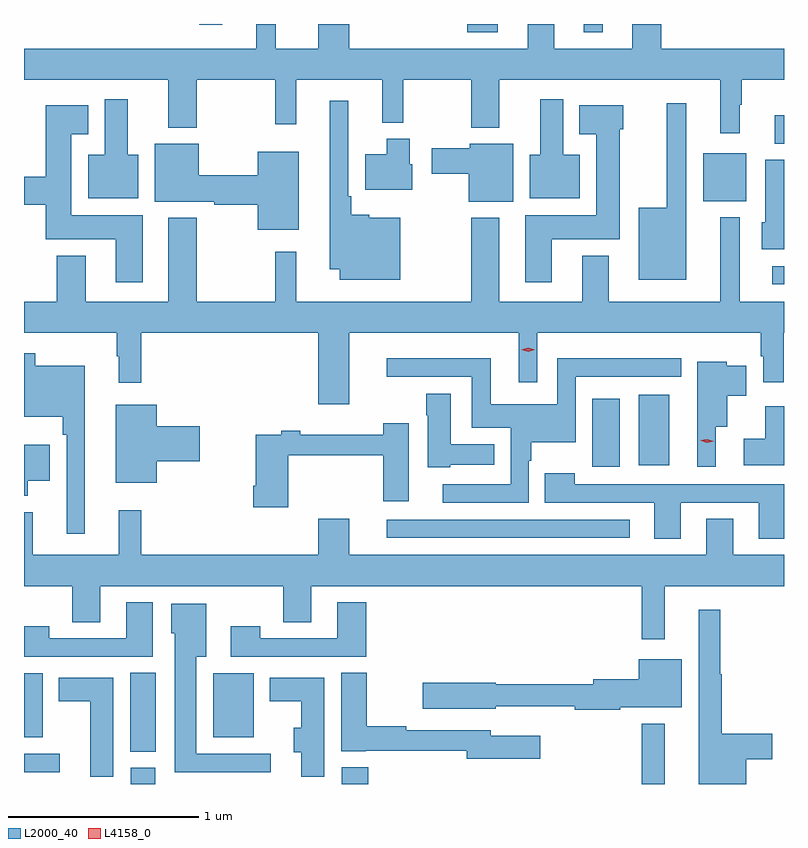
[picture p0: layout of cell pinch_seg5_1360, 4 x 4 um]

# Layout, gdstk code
import gdstk
lib = gdstk.Library(unit=1e-6, precision=1e-09)
def R(c, l, rs):  # rectangles x0, y0, x1, y1
    for r in rs: c.add(gdstk.rectangle(r[:2], r[2:], *l))
def P(c, l, *ps):  # polygons
    for p in ps: c.add(gdstk.Polygon(p, *l))
L2000_40 = (2000, 40)
L4158_0 = (4158, 0)

pinch_seg5_1360 = lib.new_cell('pinch_seg5_1360')
R(pinch_seg5_1360, L2000_40, [(199.985,908.998,200.113,909.084), (201.095,908.998,201.236,909.085), (199.423,909.059,199.612,909.156), (199.982,909.169,200.116,909.584), (199.423,909.245,199.522,909.58), (200.42,909.245,200.632,909.58), (201.333,910.293,202.612,910.389), (202.415,910.668,202.558,911.026), (202.658,910.676,202.819,911.047), (203.361,911.628,203.423,911.724), (202.997,912.065,203.224,912.319), (203.373,912.368,203.423,912.517), (201.755,912.954,201.916,912.998), (202.37,912.954,202.468,912.998), (200.346,912.993,200.467,912.998)])
P(pinch_seg5_1360, L2000_40, [(203.191,912.572),(203.201,912.572),(203.201,912.704),(203.423,912.704),(203.423,912.868),(202.778,912.868),(202.778,912.998),(202.625,912.998),(202.625,912.868),(202.213,912.868),(202.213,912.998),(202.073,912.998),(202.073,912.868),(201.136,912.868),(201.136,912.998),(200.972,912.998),(200.972,912.868),(200.749,912.868),(200.749,912.998),(200.645,912.998),(200.645,912.868),(199.423,912.868),(199.423,912.704),(200.183,912.704),(200.183,912.452),(200.331,912.452),(200.331,912.704),(200.745,912.704),(200.745,912.471),(200.855,912.471),(200.855,912.704),(201.308,912.704),(201.308,912.479),(201.418,912.479),(201.418,912.704),(201.778,912.704),(201.778,912.452),(201.925,912.452),(201.925,912.704),(203.087,912.704),(203.087,912.423),(203.191,912.423)],
  [(200.023,912.31),(199.969,912.31),(199.969,912.601),(199.847,912.601),(199.847,912.31),(199.76,912.31),(199.76,912.08),(200.023,912.08)],
  [(202.348,912.31),(202.261,912.31),(202.261,912.601),(202.139,912.601),(202.139,912.31),(202.085,912.31),(202.085,912.08),(202.348,912.08)],
  [(201.403,911.977),(201.24,911.977),(201.24,911.995),(201.146,911.995),(201.146,912.091),(201.129,912.091),(201.129,912.595),(201.032,912.595),(201.032,911.708),(201.086,911.708),(201.086,911.651),(201.403,911.651)],
  [(202.909,912.58),(202.805,912.58),(202.805,912.031),(202.658,912.031),(202.658,911.651),(202.909,911.651)],
  [(200.047,911.992),(199.672,911.992),(199.672,912.419),(199.762,912.419),(199.762,912.571),(199.538,912.571),(199.538,912.194),(199.423,912.194),(199.423,912.047),(199.538,912.047),(199.538,911.864),(199.907,911.864),(199.907,911.64),(200.047,911.64)],
  [(202.201,911.864),(202.558,911.864),(202.558,912.444),(202.576,912.444),(202.576,912.571),(202.346,912.571),(202.346,912.419),(202.436,912.419),(202.436,911.992),(202.061,911.992),(202.061,911.64),(202.201,911.64)],
  [(201.466,912.261),(201.454,912.261),(201.454,912.394),(201.332,912.394),(201.332,912.313),(201.219,912.313),(201.219,912.126),(201.466,912.126)],
  [(201.997,912.367),(201.768,912.367),(201.768,912.343),(201.57,912.343),(201.57,912.209),(201.764,912.209),(201.764,912.062),(201.997,912.062)],
  [(200.869,912.325),(200.654,912.325),(200.654,912.203),(200.344,912.203),(200.344,912.367),(200.111,912.367),(200.111,912.062),(200.424,912.062),(200.424,912.047),(200.654,912.047),(200.654,911.915),(200.869,911.915)],
  [(203.423,912.283),(203.324,912.283),(203.324,911.955),(203.306,911.955),(203.306,911.813),(203.423,911.813)],
  [(199.747,911.779),(199.595,911.779),(199.595,911.536),(199.423,911.536),(199.423,911.372),(199.911,911.372),(199.911,911.249),(199.922,911.249),(199.922,911.109),(200.039,911.109),(200.039,911.372),(200.972,911.372),(200.972,910.998),(201.136,910.998),(201.136,911.372),(202.028,911.372),(202.028,911.112),(202.125,911.112),(202.125,911.372),(203.301,911.372),(203.301,911.25),(203.313,911.25),(203.313,911.112),(203.422,911.112),(203.422,911.372),(203.423,911.372),(203.423,911.536),(203.191,911.536),(203.191,911.98),(203.087,911.98),(203.087,911.536),(202.501,911.536),(202.501,911.779),(202.361,911.779),(202.361,911.536),(201.925,911.536),(201.925,911.977),(201.778,911.977),(201.778,911.536),(200.856,911.536),(200.856,911.8),(200.745,911.8),(200.745,911.536),(200.331,911.536),(200.331,911.977),(200.183,911.977),(200.183,911.536),(199.747,911.536)],
  [(199.744,911.2),(199.483,911.2),(199.483,911.266),(199.423,911.266),(199.423,910.931),(199.627,910.931),(199.627,910.835),(199.647,910.835),(199.647,910.314),(199.744,910.314)],
  [(202.08,910.7),(202.093,910.7),(202.093,910.796),(202.326,910.796),(202.326,911.142),(202.882,911.142),(202.882,911.239),(202.23,911.239),(202.23,910.996),(201.88,910.996),(201.88,911.239),(201.333,911.239),(201.333,911.142),(201.779,911.142),(201.779,910.874),(201.984,910.874),(201.984,910.575),(201.627,910.575),(201.627,910.479),(202.08,910.479)],
  [(203.065,910.877),(203.125,910.877),(203.125,911.042),(203.224,911.042),(203.224,911.2),(203.121,911.2),(203.121,911.221),(202.967,911.221),(202.967,910.668),(203.065,910.668)],
  [(201.666,910.679),(201.898,910.679),(201.898,910.786),(201.67,910.786),(201.67,911.053),(201.541,911.053),(201.541,910.94),(201.548,910.94),(201.548,910.664),(201.666,910.664)],
  [(200.122,910.697),(200.347,910.697),(200.347,910.88),(200.122,910.88),(200.122,910.993),(199.907,910.993),(199.907,910.583),(200.122,910.583)],
  [(203.423,910.987),(203.324,910.987),(203.324,910.816),(203.211,910.816),(203.211,910.676),(203.423,910.676)],
  [(200.813,910.728),(201.314,910.728),(201.314,910.485),(201.448,910.485),(201.448,910.897),(201.314,910.897),(201.314,910.837),(200.876,910.837),(200.876,910.856),(200.776,910.856),(200.776,910.836),(200.642,910.836),(200.642,910.567),(200.63,910.567),(200.63,910.455),(200.813,910.455)],
  [(199.444,910.595),(199.558,910.595),(199.558,910.783),(199.423,910.783),(199.423,910.514),(199.444,910.514)],
  [(202.879,910.479),(203.291,910.479),(203.291,910.29),(203.423,910.29),(203.423,910.575),(202.322,910.575),(202.322,910.633),(202.165,910.633),(202.165,910.479),(202.739,910.479),(202.739,910.29),(202.879,910.29)],
  [(202.795,910.04),(203.423,910.04),(203.423,910.204),(203.155,910.204),(203.155,910.394),(203.015,910.394),(203.015,910.204),(201.136,910.204),(201.136,910.393),(200.972,910.393),(200.972,910.204),(200.039,910.204),(200.039,910.438),(199.922,910.438),(199.922,910.204),(199.469,910.204),(199.469,910.429),(199.423,910.429),(199.423,910.04),(199.678,910.04),(199.678,909.85),(199.825,909.85),(199.825,910.04),(200.788,910.04),(200.788,909.85),(200.935,909.85),(200.935,910.04),(202.674,910.04),(202.674,909.759),(202.795,909.759)],
  [(200.101,909.955),(199.961,909.955),(199.961,909.765),(199.557,909.765),(199.557,909.829),(199.423,909.829),(199.423,909.669),(200.101,909.669)],
  [(201.224,909.955),(201.071,909.955),(201.071,909.765),(200.667,909.765),(200.667,909.829),(200.511,909.829),(200.511,909.669),(201.224,909.669)],
  [(200.722,909.156),(200.329,909.156),(200.329,909.668),(200.383,909.668),(200.383,909.946),(200.198,909.946),(200.198,909.792),(200.216,909.792),(200.216,909.059),(200.722,909.059)],
  [(203.224,909.128),(203.362,909.128),(203.362,909.263),(203.095,909.263),(203.095,909.575),(203.087,909.575),(203.087,909.916),(202.973,909.916),(202.973,908.998),(203.224,908.998)],
  [(202.562,909.401),(202.885,909.401),(202.885,909.655),(202.658,909.655),(202.658,909.549),(202.418,909.549),(202.418,909.524),(201.906,909.524),(201.906,909.53),(201.522,909.53),(201.522,909.395),(201.906,909.395),(201.906,909.407),(202.322,909.407),(202.322,909.388),(202.562,909.388)],
  [(202.141,909.253),(201.88,909.253),(201.88,909.282),(201.434,909.282),(201.434,909.302),(201.226,909.302),(201.226,909.584),(201.092,909.584),(201.092,909.17),(201.222,909.17),(201.222,909.174),(201.752,909.174),(201.752,909.131),(202.141,909.131)],
  [(199.894,909.556),(199.607,909.556),(199.607,909.434),(199.772,909.434),(199.772,909.036),(199.894,909.036)],
  [(201.004,909.556),(200.717,909.556),(200.717,909.434),(200.882,909.434),(200.882,909.295),(200.843,909.295),(200.843,909.166),(200.882,909.166),(200.882,909.036),(201.004,909.036)],
  [(202.795,909.316),(202.675,909.316),(202.675,909.209),(202.674,909.209),(202.674,908.998),(202.795,908.998)])
P(pinch_seg5_1360, L4158_0, [(203.016,910.793),(202.982,910.806),(202.982,910.806),(202.982,910.806),(203.018,910.813),(203.052,910.801),(203.052,910.801),(203.052,910.801)],
  [(202.077,911.274),(202.041,911.284),(202.041,911.284),(202.041,911.284),(202.077,911.294),(202.112,911.284),(202.112,911.284),(202.112,911.284)])

lib.write_gds('pinch_seg5_1360.gds')
